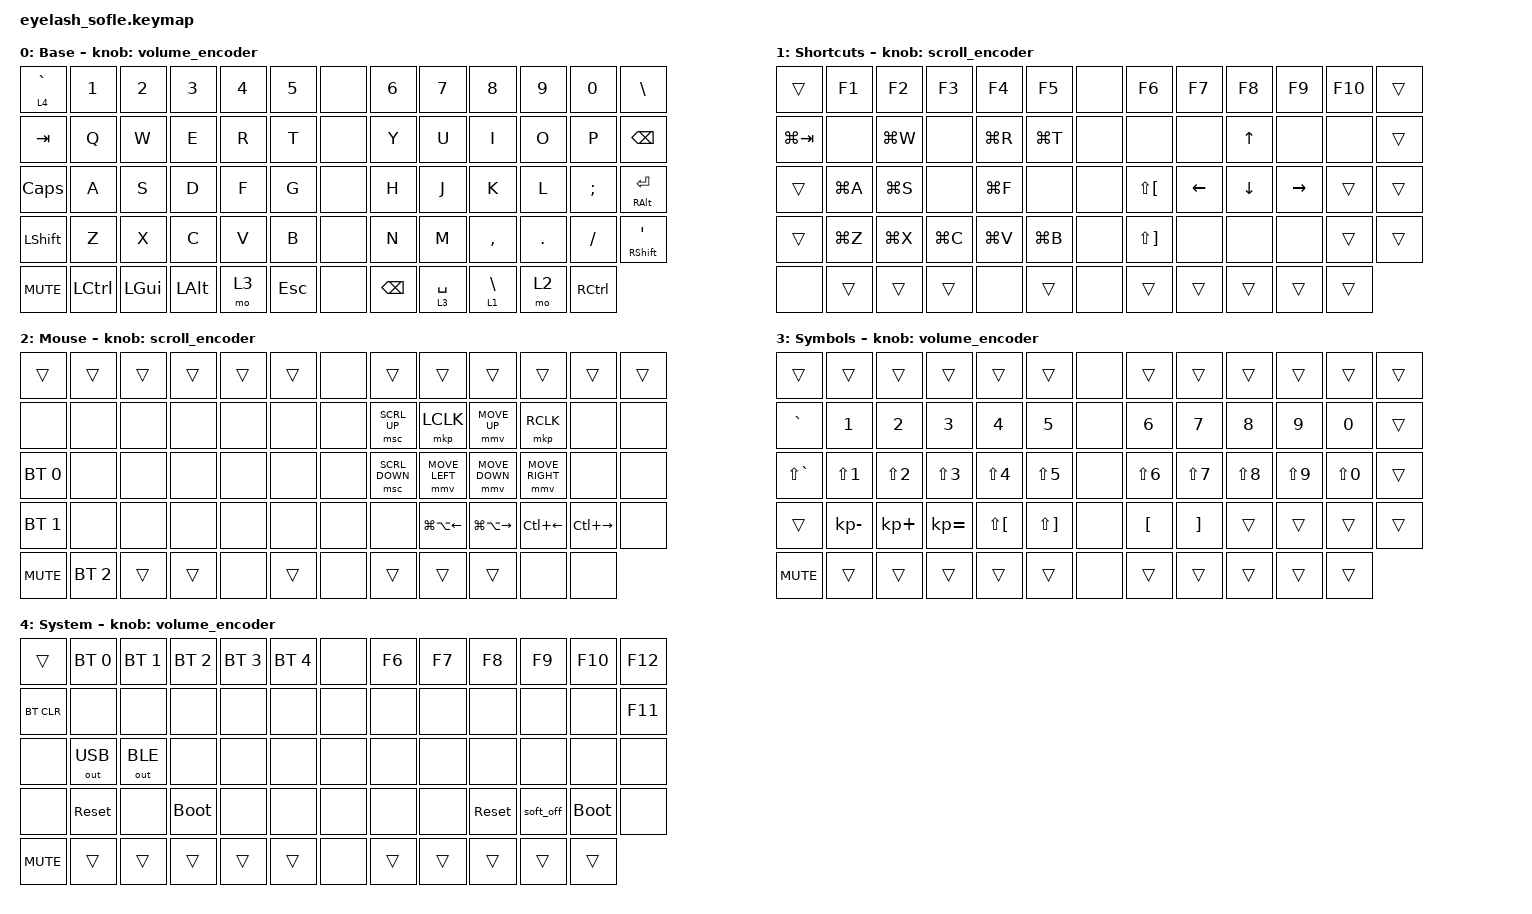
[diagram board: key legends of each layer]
// Cornix-inspired layout for the Eyelash Sofle. See docs/cornix-keymap.md.
// The board transform contains five center slots absent from this keyboard.
#define ZMK_POINTING_DEFAULT_MOVE_VAL 1200
#define ZMK_POINTING_DEFAULT_SCRL_VAL 25

#include <input/processors.dtsi>
#include <zephyr/dt-bindings/input/input-event-codes.h>
#include <behaviors.dtsi>
#include <behaviors/runtime-sensor-rotate.dtsi>
#include <dt-bindings/zmk/bt.h>
#include <dt-bindings/zmk/keys.h>
#include <dt-bindings/zmk/outputs.h>
#include <dt-bindings/zmk/pointing.h>

&mmv_input_listener { input-processors = <&zip_xy_scaler 2 1>; };
&msc_input_listener { input-processors = <&zip_scroll_scaler 2 1>; };
&msc {
    acceleration-exponent = <1>;
    time-to-max-speed-ms = <100>;
    delay-ms = <0>;
};
&mmv {
    time-to-max-speed-ms = <500>;
    acceleration-exponent = <1>;
    trigger-period-ms = <16>;
};
&soft_off { hold-time-ms = <2000>; };

/ {
    behaviors {
        volume_encoder: volume_encoder {
            compatible = "zmk,behavior-runtime-sensor-rotate";
            #sensor-binding-cells = <0>;
            tap-ms = <5>;
            cw-binding = <&kp C_VOL_UP>;
            ccw-binding = <&kp C_VOL_DN>;
        };

        scroll_encoder: scroll_encoder {
            compatible = "zmk,behavior-runtime-sensor-rotate";
            #sensor-binding-cells = <0>;
            tap-ms = <100>;
            cw-binding = <&msc SCRL_DOWN>;
            ccw-binding = <&msc SCRL_UP>;
        };
    };

    combos {
        compatible = "zmk,combos";
        previous_tab {
            timeout-ms = <50>;
            key-positions = <34 35>;
            layers = <0>;
            bindings = <&kp LG(LA(LEFT))>;
        };
        next_tab {
            timeout-ms = <50>;
            key-positions = <35 36>;
            layers = <0>;
            bindings = <&kp LG(LA(RIGHT))>;
        };
        previous_desktop {
            timeout-ms = <50>;
            key-positions = <21 22>;
            layers = <0>;
            bindings = <&kp LC(LEFT)>;
        };
        next_desktop {
            timeout-ms = <50>;
            key-positions = <22 23>;
            layers = <0>;
            bindings = <&kp LC(RIGHT)>;
        };
    };

    keymap {
        compatible = "zmk,keymap";

        layer_0 {
            display-name = "Base";
            bindings = <
                &lt 4 GRAVE           &kp N1                &kp N2                &kp N3                &kp N4                &kp N5                &none                 &kp N6                &kp N7                &kp N8                &kp N9                &kp N0                &kp BACKSLASH
                &kp TAB               &kp Q                 &kp W                 &kp E                 &kp R                 &kp T                 &none                 &kp Y                 &kp U                 &kp I                 &kp O                 &kp P                 &kp BACKSPACE
                &kp CAPS              &kp A                 &kp S                 &kp D                 &kp F                 &kp G                 &none                 &kp H                 &kp J                 &kp K                 &kp L                 &kp SEMI              &mt RALT ENTER
                &kp LSHFT             &kp Z                 &kp X                 &kp C                 &kp V                 &kp B                 &none                 &kp N                 &kp M                 &kp COMMA             &kp DOT               &kp FSLH              &mt RSHFT APOS
                &kp C_MUTE            &kp LCTRL             &kp LGUI              &kp LALT              &mo 3                 &kp ESC               &none                 &kp BACKSPACE         &lt 3 SPACE           &lt 1 BACKSLASH       &mo 2                 &kp RCTRL
            >;
            sensor-bindings = <&volume_encoder>;
        };

        layer_1 {
            display-name = "Shortcuts";
            bindings = <
                &trans                &kp F1                &kp F2                &kp F3                &kp F4                &kp F5                &none                 &kp F6                &kp F7                &kp F8                &kp F9                &kp F10               &trans
                &kp LG(TAB)           &none                 &kp LG(W)             &none                 &kp LG(R)             &kp LG(T)             &none                 &none                 &none                 &kp UP                &none                 &none                 &trans
                &trans                &kp LG(A)             &kp LG(S)             &none                 &kp LG(F)             &none                 &none                 &kp LS(LBKT)          &kp LEFT              &kp DOWN              &kp RIGHT             &trans                &trans
                &trans                &kp LG(Z)             &kp LG(X)             &kp LG(C)             &kp LG(V)             &kp LG(B)             &none                 &kp LS(RBKT)          &none                 &none                 &none                 &trans                &trans
                &none                 &trans                &trans                &trans                &none                 &trans                &none                 &trans                &trans                &trans                &trans                &trans
            >;
            sensor-bindings = <&scroll_encoder>;
        };

        layer_2 {
            display-name = "Mouse";
            bindings = <
                &trans                &trans                &trans                &trans                &trans                &trans                &none                 &trans                &trans                &trans                &trans                &trans                &trans
                &none                 &none                 &none                 &none                 &none                 &none                 &none                 &msc SCRL_UP          &mkp LCLK             &mmv MOVE_UP          &mkp RCLK             &none                 &none
                &bt BT_SEL 0          &none                 &none                 &none                 &none                 &none                 &none                 &msc SCRL_DOWN        &mmv MOVE_LEFT        &mmv MOVE_DOWN        &mmv MOVE_RIGHT       &none                 &none
                &bt BT_SEL 1          &none                 &none                 &none                 &none                 &none                 &none                 &none                 &kp LG(LA(LEFT))      &kp LG(LA(RIGHT))     &kp LC(LEFT)          &kp LC(RIGHT)         &none
                &kp C_MUTE            &bt BT_SEL 2          &trans                &trans                &none                 &trans                &none                 &trans                &trans                &trans                &none                 &none
            >;
            sensor-bindings = <&scroll_encoder>;
        };

        layer_3 {
            display-name = "Symbols";
            bindings = <
                &trans                &trans                &trans                &trans                &trans                &trans                &none                 &trans                &trans                &trans                &trans                &trans                &trans
                &kp GRAVE             &kp N1                &kp N2                &kp N3                &kp N4                &kp N5                &none                 &kp N6                &kp N7                &kp N8                &kp N9                &kp N0                &trans
                &kp LS(GRAVE)         &kp LS(N1)            &kp LS(N2)            &kp LS(N3)            &kp LS(N4)            &kp LS(N5)            &none                 &kp LS(N6)            &kp LS(N7)            &kp LS(N8)            &kp LS(N9)            &kp LS(N0)            &trans
                &trans                &kp KP_MINUS          &kp KP_PLUS           &kp KP_EQUAL          &kp LS(LBKT)          &kp LS(RBKT)          &none                 &kp LBKT              &kp RBKT              &trans                &trans                &trans                &trans
                &kp C_MUTE            &trans                &trans                &trans                &trans                &trans                &none                 &trans                &trans                &trans                &trans                &trans
            >;
            sensor-bindings = <&volume_encoder>;
        };

        layer_4 {
            display-name = "System";
            bindings = <
                &trans                &bt BT_SEL 0          &bt BT_SEL 1          &bt BT_SEL 2          &bt BT_SEL 3          &bt BT_SEL 4          &none                 &kp F6                &kp F7                &kp F8                &kp F9                &kp F10               &kp F12
                &bt BT_CLR            &none                 &none                 &none                 &none                 &none                 &none                 &none                 &none                 &none                 &none                 &none                 &kp F11
                &none                 &out OUT_USB          &out OUT_BLE          &none                 &none                 &none                 &none                 &none                 &none                 &none                 &none                 &none                 &none
                &none                 &sys_reset            &none                 &bootloader           &none                 &none                 &none                 &none                 &none                 &sys_reset            &soft_off             &bootloader           &none
                &kp C_MUTE            &trans                &trans                &trans                &trans                &trans                &none                 &trans                &trans                &trans                &trans                &trans
            >;
            sensor-bindings = <&volume_encoder>;
        };
    };
};
